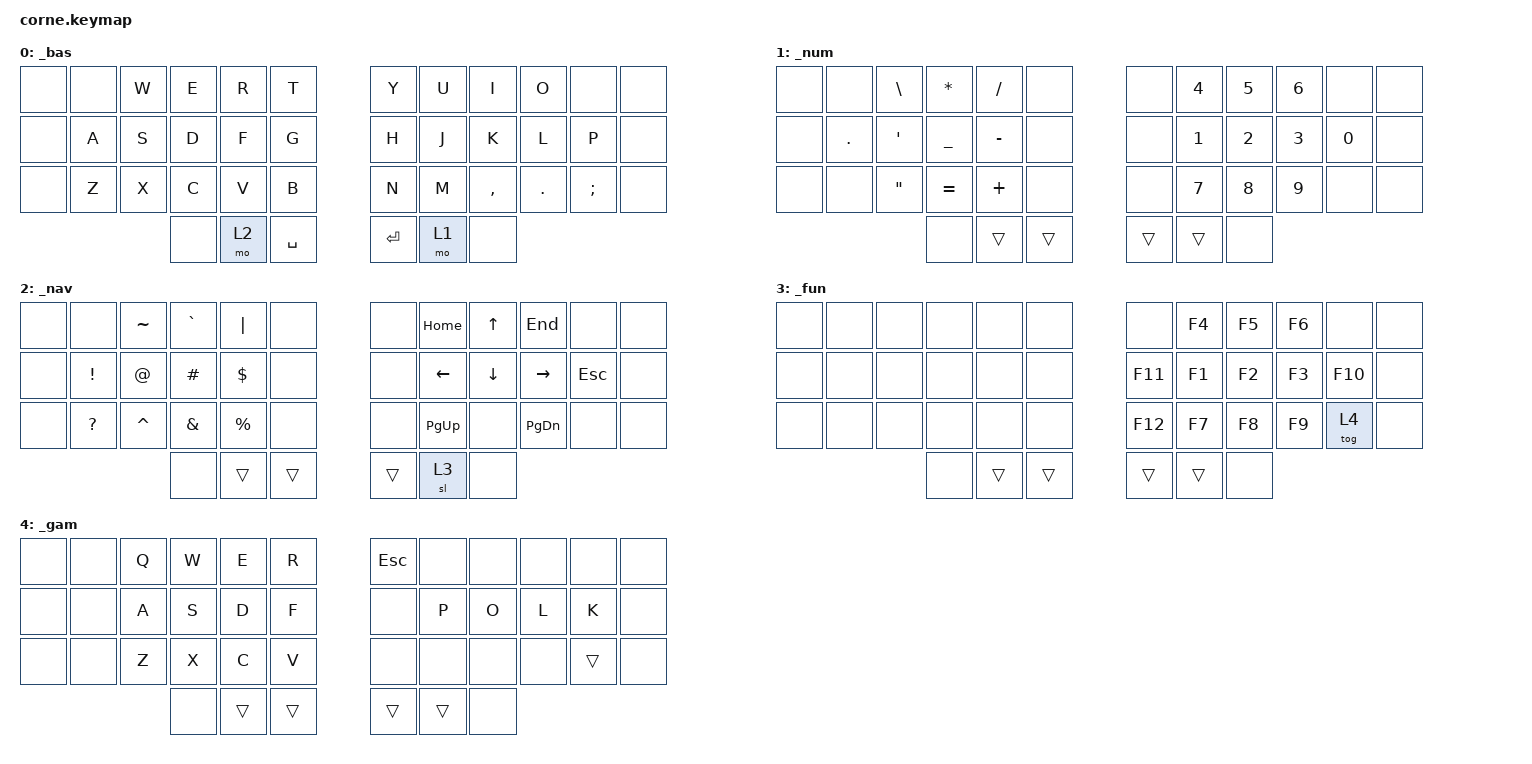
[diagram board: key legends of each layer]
#include <behaviors.dtsi>
#include <dt-bindings/zmk/keys.h>

/ {
    combos {
        compatible = "zmk,combos";

        cb_tab {
            bindings = <&kp TAB>;
            key-positions = <2 3>;
            layers = <0 1 2>;
        };

        cb_bkspc {
            bindings = <&kp BSPC>;
            key-positions = <9 8>;
            layers = <0 1>;
        };

        cb_del {
            bindings = <&kp DEL>;
            key-positions = <9 8>;
            layers = <2>;
        };

        cb_cntl {
            bindings = <&sk LCTRL>;
            key-positions = <26 27>;
            layers = <0 1 2 3>;
        };

        cb_rshift {
            bindings = <&sk RSHIFT>;
            key-positions = <32 33>;
            layers = <0 1 2 3>;
        };

        cb_gui {
            bindings = <&sk LGUI>;
            key-positions = <38 37>;
            layers = <0 1 2 3>;
        };

        cb_alt {
            bindings = <&sk LALT>;
            key-positions = <40 39>;
            layers = <0 1 2 3>;
        };

        cb_lbkt {
            bindings = <&kp LBKT>;
            layers = <0 1>;
            key-positions = <3 15>;
        };

        cb_rbkt {
            bindings = <&kp RIGHT_BRACKET>;
            layers = <0 1>;
            key-positions = <8 20>;
        };

        cb_lpara {
            bindings = <&kp LPAR>;
            layers = <0 1>;
            key-positions = <4 16>;
        };

        cb_rpara {
            bindings = <&kp RPAR>;
            layers = <0 1>;
            key-positions = <7 19>;
        };

        cb_lbrc {
            bindings = <&kp LBRC>;
            layers = <0 1>;
            key-positions = <2 14>;
        };

        cb_rbrc {
            bindings = <&kp RIGHT_BRACE>;
            layers = <0 1>;
            key-positions = <9 21>;
        };

        cb_q {
            bindings = <&kp Q>;
            layers = <0>;
            key-positions = <2 13>;
        };

        cb_alt.f4 {
            bindings = <&kp LA(F4)>;
            key-positions = <17 18>;
            layers = <0 1>;
        };
    };

    keymap {
        compatible = "zmk,keymap";

        _bas {
            bindings = <
&none  &none  &kp W  &kp E  &kp R  &kp T        &kp Y      &kp U  &kp I      &kp O    &none     &none
&none  &kp A  &kp S  &kp D  &kp F  &kp G        &kp H      &kp J  &kp K      &kp L    &kp P     &none
&none  &kp Z  &kp X  &kp C  &kp V  &kp B        &kp N      &kp M  &kp COMMA  &kp DOT  &kp SEMI  &none
                     &none  &mo 2  &kp SPACE    &kp ENTER  &mo 1  &none
            >;
        };

        _num {
            bindings = <
&none  &none    &kp BSLH  &kp STAR   &kp FSLH   &none     &none   &kp N4  &kp N5  &kp N6  &none   &none
&none  &kp DOT  &kp SQT   &kp UNDER  &kp MINUS  &none     &none   &kp N1  &kp N2  &kp N3  &kp N0  &none
&none  &none    &kp DQT   &kp EQUAL  &kp PLUS   &none     &none   &kp N7  &kp N8  &kp N9  &none   &none
                          &none      &trans     &trans    &trans  &trans  &none
            >;
        };

        _nav {
            bindings = <
&none  &none      &kp TILDE  &kp GRAVE  &kp PIPE   &none     &none   &kp HOME   &kp UP    &kp END    &none    &none
&none  &kp EXCL   &kp AT     &kp POUND  &kp DLLR   &none     &none   &kp LEFT   &kp DOWN  &kp RIGHT  &kp ESC  &none
&none  &kp QMARK  &kp CARET  &kp AMPS   &kp PRCNT  &none     &none   &kp PG_UP  &none     &kp PG_DN  &none    &none
                             &none      &trans     &trans    &trans  &sl 3      &none
            >;
        };

        _fun {
            bindings = <
&none  &none  &none  &none  &none   &none     &none    &kp F4  &kp F5  &kp F6  &none    &none
&none  &none  &none  &none  &none   &none     &kp F11  &kp F1  &kp F2  &kp F3  &kp F10  &none
&none  &none  &none  &none  &none   &none     &kp F12  &kp F7  &kp F8  &kp F9  &tog 4   &none
                     &none  &trans  &trans    &trans   &trans  &none
            >;
        };

        _gam {
            bindings = <
&none  &none  &kp Q  &kp W  &kp E   &kp R     &kp ESC  &none   &none  &none  &none   &none
&none  &none  &kp A  &kp S  &kp D   &kp F     &none    &kp P   &kp O  &kp L  &kp K   &none
&none  &none  &kp Z  &kp X  &kp C   &kp V     &none    &none   &none  &none  &trans  &none
                     &none  &trans  &trans    &trans   &trans  &none
            >;
        };
    };
};
